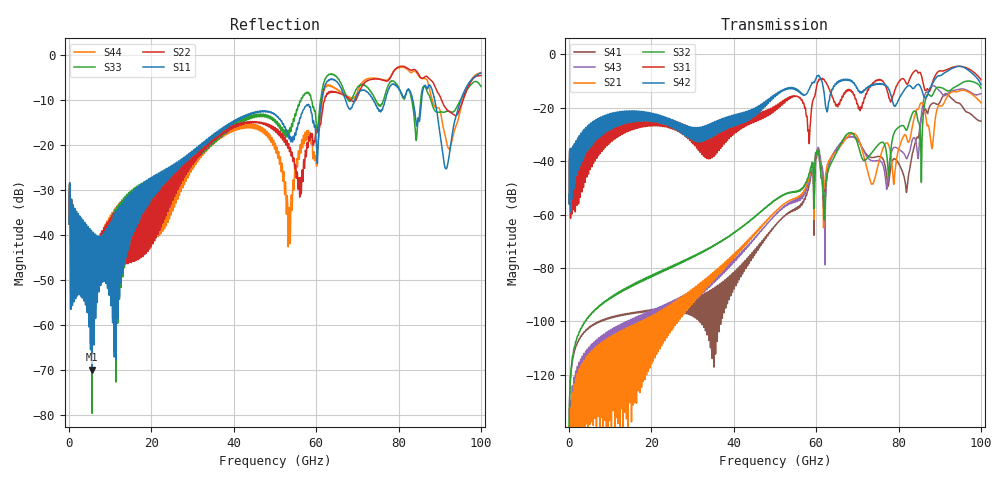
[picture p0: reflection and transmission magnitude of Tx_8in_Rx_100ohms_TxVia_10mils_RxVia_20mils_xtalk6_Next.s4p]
! Info: Touchstone file created by Circ.  Input file=Tx_8in_Rx_100ohms_TxVia_10mils_RxVia_20mils.circ
# Hz S RI R 50
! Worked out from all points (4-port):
!   10000 points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, 10 MHz to 100 GHz, reference 50 ohm
!   strongest paths, dB at 10 MHz, 25.01 GHz, 50.01 GHz, 75.01 GHz, 100 GHz:
!     S42: -56.0, -24.5, -15.9, -11.1, -11.3
!     S31: -56.0, -24.8, -21.2, -9.5, -9.5
!     S32: -144.8, -79.3, -54.6, -34.0, -12.7
!     S21: -160.5, -96.6, -58.9, -41.7, -18.1
!     S43: -146.7, -97.7, -60.2, -39.8, -14.8
!     S41: -144.9, -95.6, -64.2, -38.3, -25.0
!   lowest |S11| = -69.8 dB at 5.63 GHz (marker M1), VSWR 1.00, Z = 50 + j0.0177 ohm
!   |S11| at or under -10 dB: start of sweep to 61.34 GHz; 73.92 GHz to 76.78 GHz (2.855 GHz wide, 3.79 % of centre); 88.79 GHz to 95.12 GHz (6.331 GHz wide, 6.88 % of centre) (the widest 3 of 5)
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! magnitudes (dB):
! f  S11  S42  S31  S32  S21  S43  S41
! 10 MHz  -37.5  -56.0  -56.0  -144.8  -160.5  -146.7  -144.9
! 5.63 GHz  -69.8  -27.4  -28.3  -96.6  -110.9  -108.3  -101.4
! 38.41 GHz  -15.5  -26.4  -30.6  -68.6  -79.1  -80.6  -91.9
! 60.38 GHz  -22.2  -8.1  -10.5  -35.8  -35.7  -35.3  -36.2
! 77.1 GHz  -8.8  -11.9  -12.8  -37.3  -33.2  -50.5  -45.3
! 88.01 GHz  -7.4  -11.6  -11.7  -15.7  -34.4  -12.2  -18.7
! 100 GHz  -4.0  -11.3  -9.5  -12.7  -18.1  -14.8  -25.0
